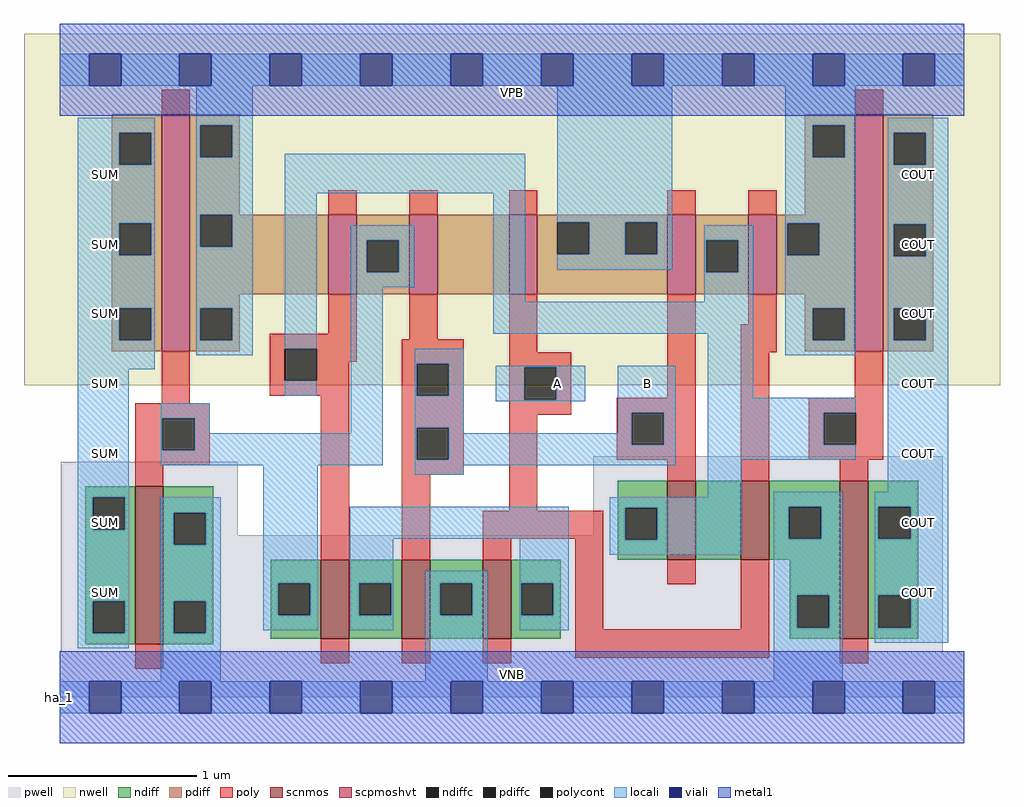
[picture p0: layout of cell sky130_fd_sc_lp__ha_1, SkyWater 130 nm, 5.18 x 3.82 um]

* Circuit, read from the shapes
.subckt sky130_fd_sc_lp__ha_1 A B VGND VNB VPB VPWR COUT SUM
XM1 VGND n1 SUM VNB sky130_fd_pr__nfet_01v8 w=0.84 l=0.15
XM2 n2 n3 n1 VNB sky130_fd_pr__nfet_01v8 w=0.42 l=0.15
XM3 VGND B n2 VNB sky130_fd_pr__nfet_01v8 w=0.42 l=0.15
XM4 n2 A VGND VNB sky130_fd_pr__nfet_01v8 w=0.42 l=0.15
XM5 n4 B n3 VNB sky130_fd_pr__nfet_01v8 w=0.42 l=0.15
XM6 VGND A n4 VNB sky130_fd_pr__nfet_01v8 w=0.42 l=0.15
XM7 COUT n3 VGND VNB sky130_fd_pr__nfet_01v8 w=0.84 l=0.15
XM8 VPWR n1 SUM VPB sky130_fd_pr__pfet_01v8_hvt w=1.26 l=0.15
XM9 n1 n3 VPWR VPB sky130_fd_pr__pfet_01v8_hvt w=0.42 l=0.15
XM10 n5 B n1 VPB sky130_fd_pr__pfet_01v8_hvt w=0.42 l=0.15
XM11 VPWR A n5 VPB sky130_fd_pr__pfet_01v8_hvt w=0.42 l=0.15
XM12 n3 B VPWR VPB sky130_fd_pr__pfet_01v8_hvt w=0.42 l=0.15
XM13 VPWR A n3 VPB sky130_fd_pr__pfet_01v8_hvt w=0.42 l=0.15
XM14 COUT n3 VPWR VPB sky130_fd_pr__pfet_01v8_hvt w=1.26 l=0.15
.ends

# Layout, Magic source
magic
tech sky130A
magscale 1 2
<< nwell >>
rect -38 331 998 704
<< pwell >>
rect 1 172 189 250
rect 566 172 937 256
rect 1 49 937 172
rect 0 0 960 49
<< scnmos >>
rect 80 56 110 224
rect 277 62 307 146
rect 363 62 393 146
rect 449 62 479 146
rect 645 146 675 230
rect 723 146 753 230
rect 828 62 858 230
<< scpmoshvt >>
rect 108 367 138 619
rect 285 428 315 512
rect 371 428 401 512
rect 477 428 507 512
rect 645 428 675 512
rect 731 428 761 512
rect 844 367 874 619
<< ndiff >>
rect 27 212 80 224
rect 27 178 35 212
rect 69 178 80 212
rect 27 102 80 178
rect 27 68 35 102
rect 69 68 80 102
rect 27 56 80 68
rect 110 196 163 224
rect 110 162 121 196
rect 155 162 163 196
rect 110 102 163 162
rect 592 201 645 230
rect 110 68 121 102
rect 155 68 163 102
rect 110 56 163 68
rect 224 121 277 146
rect 224 87 232 121
rect 266 87 277 121
rect 224 62 277 87
rect 307 121 363 146
rect 307 87 318 121
rect 352 87 363 121
rect 307 62 363 87
rect 393 121 449 146
rect 393 87 404 121
rect 438 87 449 121
rect 393 62 449 87
rect 479 121 532 146
rect 479 87 490 121
rect 524 87 532 121
rect 479 62 532 87
rect 592 167 600 201
rect 634 167 645 201
rect 592 146 645 167
rect 675 146 723 230
rect 753 202 828 230
rect 753 168 774 202
rect 808 168 828 202
rect 753 146 828 168
rect 775 108 828 146
rect 775 74 783 108
rect 817 74 828 108
rect 775 62 828 74
rect 858 202 911 230
rect 858 168 869 202
rect 903 168 911 202
rect 858 108 911 168
rect 858 74 869 108
rect 903 74 911 108
rect 858 62 911 74
<< pdiff >>
rect 55 599 108 619
rect 55 565 63 599
rect 97 565 108 599
rect 55 503 108 565
rect 55 469 63 503
rect 97 469 108 503
rect 55 413 108 469
rect 55 379 63 413
rect 97 379 108 413
rect 55 367 108 379
rect 138 607 191 619
rect 138 573 149 607
rect 183 573 191 607
rect 138 512 191 573
rect 791 607 844 619
rect 791 573 799 607
rect 833 573 844 607
rect 791 512 844 573
rect 138 478 149 512
rect 183 478 285 512
rect 138 428 285 478
rect 315 485 371 512
rect 315 451 326 485
rect 360 451 371 485
rect 315 428 371 451
rect 401 428 477 512
rect 507 504 645 512
rect 507 470 528 504
rect 562 470 600 504
rect 634 470 645 504
rect 507 428 645 470
rect 675 485 731 512
rect 675 451 686 485
rect 720 451 731 485
rect 675 428 731 451
rect 761 503 844 512
rect 761 469 772 503
rect 806 469 844 503
rect 761 428 844 469
rect 138 413 191 428
rect 138 379 149 413
rect 183 379 191 413
rect 138 367 191 379
rect 791 413 844 428
rect 791 379 799 413
rect 833 379 844 413
rect 791 367 844 379
rect 874 599 927 619
rect 874 565 885 599
rect 919 565 927 599
rect 874 502 927 565
rect 874 468 885 502
rect 919 468 927 502
rect 874 413 927 468
rect 874 379 885 413
rect 919 379 927 413
rect 874 367 927 379
<< ndiffc >>
rect 35 178 69 212
rect 35 68 69 102
rect 121 162 155 196
rect 121 68 155 102
rect 232 87 266 121
rect 318 87 352 121
rect 404 87 438 121
rect 490 87 524 121
rect 600 167 634 201
rect 774 168 808 202
rect 783 74 817 108
rect 869 168 903 202
rect 869 74 903 108
<< pdiffc >>
rect 63 565 97 599
rect 63 469 97 503
rect 63 379 97 413
rect 149 573 183 607
rect 799 573 833 607
rect 149 478 183 512
rect 326 451 360 485
rect 528 470 562 504
rect 600 470 634 504
rect 686 451 720 485
rect 772 469 806 503
rect 149 379 183 413
rect 799 379 833 413
rect 885 565 919 599
rect 885 468 919 502
rect 885 379 919 413
<< poly >>
rect 108 619 138 645
rect 844 619 874 645
rect 285 512 315 538
rect 371 512 401 538
rect 477 512 507 538
rect 645 512 675 538
rect 731 512 761 538
rect 285 386 315 428
rect 223 370 315 386
rect 371 380 401 428
rect 108 312 138 367
rect 223 336 239 370
rect 273 356 315 370
rect 273 336 307 356
rect 223 320 307 336
rect 80 296 159 312
rect 80 262 109 296
rect 143 262 159 296
rect 80 246 159 262
rect 80 224 110 246
rect 277 146 307 320
rect 363 354 429 380
rect 363 320 379 354
rect 413 320 429 354
rect 363 286 429 320
rect 363 252 379 286
rect 413 252 429 286
rect 363 236 429 252
rect 477 366 507 428
rect 477 350 543 366
rect 477 316 493 350
rect 527 316 543 350
rect 645 318 675 428
rect 731 396 761 428
rect 477 300 543 316
rect 591 302 675 318
rect 363 146 393 236
rect 477 198 507 300
rect 591 268 607 302
rect 641 268 675 302
rect 591 252 675 268
rect 645 230 675 252
rect 723 366 761 396
rect 723 230 753 366
rect 844 318 874 367
rect 795 302 874 318
rect 795 268 811 302
rect 845 268 874 302
rect 795 252 874 268
rect 828 230 858 252
rect 449 168 577 198
rect 449 146 479 168
rect 547 72 577 168
rect 645 120 675 146
rect 723 72 753 146
rect 80 30 110 56
rect 277 36 307 62
rect 363 36 393 62
rect 449 36 479 62
rect 547 42 753 72
rect 828 36 858 62
<< polycont >>
rect 239 336 273 370
rect 109 262 143 296
rect 379 320 413 354
rect 379 252 413 286
rect 493 316 527 350
rect 607 268 641 302
rect 811 268 845 302
<< locali >>
rect 0 649 31 683
rect 65 649 127 683
rect 161 649 223 683
rect 257 649 319 683
rect 353 649 415 683
rect 449 649 511 683
rect 545 649 607 683
rect 641 649 703 683
rect 737 649 799 683
rect 833 649 895 683
rect 929 649 960 683
rect 19 599 101 615
rect 19 565 63 599
rect 97 565 101 599
rect 19 503 101 565
rect 19 469 63 503
rect 97 469 101 503
rect 19 413 101 469
rect 19 379 63 413
rect 97 379 101 413
rect 19 348 101 379
rect 145 607 205 649
rect 145 573 149 607
rect 183 573 205 607
rect 145 512 205 573
rect 145 478 149 512
rect 183 478 205 512
rect 145 413 205 478
rect 145 379 149 413
rect 183 379 205 413
rect 145 363 205 379
rect 239 535 494 577
rect 239 370 273 535
rect 19 212 73 348
rect 239 320 273 336
rect 309 485 376 501
rect 309 451 326 485
rect 360 451 376 485
rect 309 435 376 451
rect 107 296 159 312
rect 107 262 109 296
rect 143 280 159 296
rect 309 280 343 435
rect 460 420 494 535
rect 528 504 650 649
rect 562 470 600 504
rect 634 470 650 504
rect 770 607 845 649
rect 770 573 799 607
rect 833 573 845 607
rect 770 503 845 573
rect 528 454 650 470
rect 684 485 736 501
rect 684 451 686 485
rect 720 451 736 485
rect 684 420 736 451
rect 460 386 736 420
rect 143 262 343 280
rect 107 246 343 262
rect 377 354 429 370
rect 377 320 379 354
rect 413 320 429 354
rect 377 286 429 320
rect 463 350 558 352
rect 463 316 493 350
rect 527 316 558 350
rect 463 314 558 316
rect 377 252 379 286
rect 413 280 429 286
rect 592 302 654 352
rect 592 280 607 302
rect 413 268 607 280
rect 641 268 654 302
rect 413 252 654 268
rect 377 246 654 252
rect 688 318 736 386
rect 770 469 772 503
rect 806 469 845 503
rect 770 413 845 469
rect 770 379 799 413
rect 833 379 845 413
rect 770 363 845 379
rect 879 599 943 615
rect 879 565 885 599
rect 919 565 943 599
rect 879 502 943 565
rect 879 468 885 502
rect 919 468 943 502
rect 879 413 943 468
rect 879 379 885 413
rect 919 379 943 413
rect 688 302 845 318
rect 688 268 811 302
rect 688 252 845 268
rect 19 178 35 212
rect 69 178 73 212
rect 19 102 73 178
rect 19 68 35 102
rect 69 68 73 102
rect 19 52 73 68
rect 107 196 171 212
rect 107 162 121 196
rect 155 162 171 196
rect 107 102 171 162
rect 107 68 121 102
rect 155 68 171 102
rect 216 121 274 246
rect 377 236 429 246
rect 688 212 724 252
rect 879 218 943 379
rect 216 87 232 121
rect 266 87 274 121
rect 216 71 274 87
rect 308 168 540 202
rect 308 121 354 168
rect 308 87 318 121
rect 352 87 354 121
rect 308 71 354 87
rect 388 121 454 134
rect 388 87 404 121
rect 438 87 454 121
rect 107 17 171 68
rect 388 17 454 87
rect 488 121 540 168
rect 584 201 724 212
rect 584 167 600 201
rect 634 167 724 201
rect 584 151 724 167
rect 758 202 831 218
rect 758 168 774 202
rect 808 168 831 202
rect 488 87 490 121
rect 524 87 540 121
rect 488 71 540 87
rect 758 108 831 168
rect 758 74 783 108
rect 817 74 831 108
rect 758 17 831 74
rect 865 202 943 218
rect 865 168 869 202
rect 903 168 943 202
rect 865 108 943 168
rect 865 74 869 108
rect 903 74 943 108
rect 865 58 943 74
rect 0 -17 31 17
rect 65 -17 127 17
rect 161 -17 223 17
rect 257 -17 319 17
rect 353 -17 415 17
rect 449 -17 511 17
rect 545 -17 607 17
rect 641 -17 703 17
rect 737 -17 799 17
rect 833 -17 895 17
rect 929 -17 960 17
<< viali >>
rect 31 649 65 683
rect 127 649 161 683
rect 223 649 257 683
rect 319 649 353 683
rect 415 649 449 683
rect 511 649 545 683
rect 607 649 641 683
rect 703 649 737 683
rect 799 649 833 683
rect 895 649 929 683
rect 31 -17 65 17
rect 127 -17 161 17
rect 223 -17 257 17
rect 319 -17 353 17
rect 415 -17 449 17
rect 511 -17 545 17
rect 607 -17 641 17
rect 703 -17 737 17
rect 799 -17 833 17
rect 895 -17 929 17
<< metal1 >>
rect 0 683 960 715
rect 0 649 31 683
rect 65 649 127 683
rect 161 649 223 683
rect 257 649 319 683
rect 353 649 415 683
rect 449 649 511 683
rect 545 649 607 683
rect 641 649 703 683
rect 737 649 799 683
rect 833 649 895 683
rect 929 649 960 683
rect 0 617 960 649
rect 0 17 960 49
rect 0 -17 31 17
rect 65 -17 127 17
rect 161 -17 223 17
rect 257 -17 319 17
rect 353 -17 415 17
rect 449 -17 511 17
rect 545 -17 607 17
rect 641 -17 703 17
rect 737 -17 799 17
rect 833 -17 895 17
rect 929 -17 960 17
rect 0 -49 960 -17
<< labels >>
flabel pwell s 0 0 960 49 0 FreeSans 200 0 0 0 VNB
port 4 nsew ground bidirectional
flabel nwell s 0 617 960 666 0 FreeSans 200 0 0 0 VPB
port 5 nsew power bidirectional
rlabel comment s 0 0 0 0 4 ha_1
flabel metal1 s 0 617 960 666 0 FreeSans 340 0 0 0 VPWR
port 6 nsew power bidirectional
flabel metal1 s 0 0 960 49 0 FreeSans 340 0 0 0 VGND
port 3 nsew ground bidirectional
flabel locali s 895 94 929 128 0 FreeSans 340 0 0 0 COUT
port 7 nsew signal output
flabel locali s 895 168 929 202 0 FreeSans 340 0 0 0 COUT
port 7 nsew signal output
flabel locali s 895 242 929 276 0 FreeSans 340 0 0 0 COUT
port 7 nsew signal output
flabel locali s 895 316 929 350 0 FreeSans 340 0 0 0 COUT
port 7 nsew signal output
flabel locali s 895 390 929 424 0 FreeSans 340 0 0 0 COUT
port 7 nsew signal output
flabel locali s 895 464 929 498 0 FreeSans 340 0 0 0 COUT
port 7 nsew signal output
flabel locali s 895 538 929 572 0 FreeSans 340 0 0 0 COUT
port 7 nsew signal output
flabel locali s 31 94 65 128 0 FreeSans 340 0 0 0 SUM
port 8 nsew signal output
flabel locali s 31 168 65 202 0 FreeSans 340 0 0 0 SUM
port 8 nsew signal output
flabel locali s 31 242 65 276 0 FreeSans 340 0 0 0 SUM
port 8 nsew signal output
flabel locali s 31 316 65 350 0 FreeSans 340 0 0 0 SUM
port 8 nsew signal output
flabel locali s 31 390 65 424 0 FreeSans 340 0 0 0 SUM
port 8 nsew signal output
flabel locali s 31 464 65 498 0 FreeSans 340 0 0 0 SUM
port 8 nsew signal output
flabel locali s 31 538 65 572 0 FreeSans 340 0 0 0 SUM
port 8 nsew signal output
flabel locali s 511 316 545 350 0 FreeSans 340 0 0 0 A
port 1 nsew signal input
flabel locali s 607 316 641 350 0 FreeSans 340 0 0 0 B
port 2 nsew signal input
<< properties >>
string LEFsite unit
string LEFclass CORE
string FIXED_BBOX 0 0 960 666
string GDS_FILE $PDKPATH/libs.ref/sky130_fd_sc_lp/gds/sky130_fd_sc_lp.gds
string LEFsymmetry X Y R90
string GDS_END 6678532
string GDS_START 6669326
<< end >>
